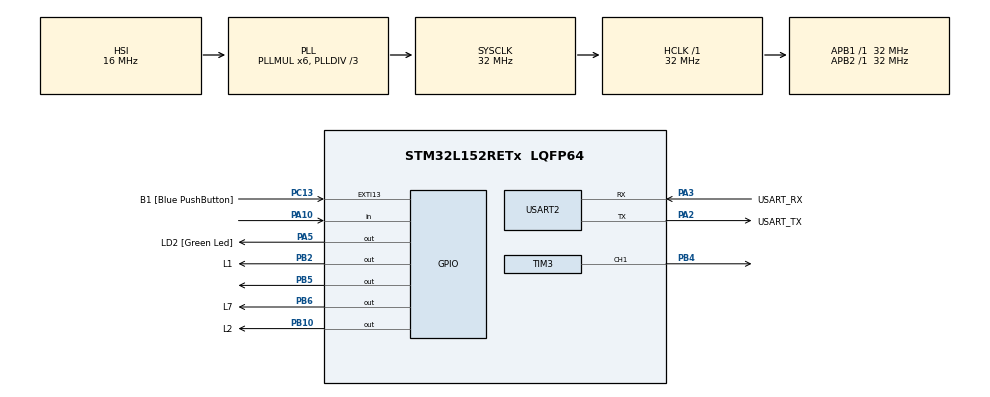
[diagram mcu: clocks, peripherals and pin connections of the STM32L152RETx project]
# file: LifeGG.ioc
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Mcu.Family=STM32L1
Mcu.Name=STM32L152RETx
Mcu.Package=LQFP64
NVIC.PriorityGroup=NVIC_PRIORITYGROUP_0
NVIC.TIM3_IRQn=true\:0\:0\:false\:false\:true\:true\:true\:true
NVIC.USART2_IRQn=true\:0\:0\:false\:false\:true\:true\:true\:true
PA10.Signal=GPIO_Input
PA13.GPIO_Label=TMS
PA13.Mode=Serial_Wire
PA13.Signal=SYS_JTMS-SWDIO
PA14.GPIO_Label=TCK
PA14.Mode=Serial_Wire
PA14.Signal=SYS_JTCK-SWCLK
PA2.GPIO_Label=USART_TX
PA2.Mode=Asynchronous
PA2.Signal=USART2_TX
PA3.GPIO_Label=USART_RX
PA3.Mode=Asynchronous
PA3.Signal=USART2_RX
PA5.GPIO_Label=LD2 [Green Led]
PA5.Signal=GPIO_Output
PB10.GPIO_Label=L2
PB10.Signal=GPIO_Output
PB2.GPIO_Label=L1
PB2.Signal=GPIO_Output
PB3.GPIO_Label=SWO
PB3.Signal=SYS_JTDO-TRACESWO
PB4.Signal=S_TIM3_CH1
PB5.Signal=GPIO_Output
PB6.GPIO_Label=L7
PB6.Signal=GPIO_Output
PC13-WKUP2.GPIO_Label=B1 [Blue PushButton]
PC13-WKUP2.Signal=GPXTI13
PC14-OSC32_IN.Mode=LSE-External-Oscillator
PC14-OSC32_IN.Signal=RCC_OSC32_IN
PC15-OSC32_OUT.Mode=LSE-External-Oscillator
PC15-OSC32_OUT.Signal=RCC_OSC32_OUT
PH0-OSC_IN.Mode=HSE-External-Clock-Source
PH0-OSC_IN.Signal=RCC_OSC_IN
PH1-OSC_OUT.Signal=RCC_OSC_OUT
ProjectManager.HeapSize=0x200
ProjectManager.StackSize=0x400
ProjectManager.TargetToolchain=STM32CubeIDE
RCC.48MHZClocksFreq_Value=48000000
RCC.AHBFreq_Value=32000000
RCC.APB1Freq_Value=32000000
RCC.APB1TimFreq_Value=32000000
RCC.APB2Freq_Value=32000000
RCC.APB2TimFreq_Value=32000000
RCC.HCLKFreq_Value=32000000
RCC.HSE_VALUE=8000000
RCC.HSI_VALUE=16000000
RCC.MSI_VALUE=2097000
RCC.PLLDIV=RCC_PLL_DIV3
RCC.PLLMUL=RCC_PLL_MUL6
RCC.RTCClockSelectionVirtual=RCC_RTCCLKSOURCE_LSE
RCC.SYSCLKFreq_VALUE=32000000
RCC.SYSCLKSource=RCC_SYSCLKSOURCE_PLLCLK
RCC.USBOutput=48000000
RCC.VCOOutputFreq_Value=96000000
SH.S_TIM3_CH1.0=TIM3_CH1,PWM Generation1 CH1
TIM3.Channel-PWM\ Generation1\ CH1=TIM_CHANNEL_1
TIM3.Pulse-PWM\ Generation1\ CH1=32000
USART2.VirtualMode=VM_ASYNC
VP_TIM3_VS_ClockSourceINT.Mode=Internal
board=NUCLEO-L152RE

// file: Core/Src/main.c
/* USER CODE BEGIN Header */
/**
  ******************************************************************************
  * @file           : main.c
  * @brief          : Main program body
  ******************************************************************************
  * @attention
  *
  * Copyright (c) 2025 STMicroelectronics.
  * All rights reserved.
  *
  * This software is licensed under terms that can be found in the LICENSE file
  * in the root directory of this software component.
  * If no LICENSE file comes with this software, it is provided AS-IS.
  *
  ******************************************************************************
  */
/* USER CODE END Header */
#include "main.h"

/* USER CODE BEGIN Includes */
#include "stdio.h"
#include<string.h>

#define DIRECTION_OPEN_PIN    GPIO_PIN_4  // Ex : PB4
#define DIRECTION_CLOSE_PIN   GPIO_PIN_5  // Ex : PB5

#define DIRECTION_PORT        GPIOB

#define LED_L1_PIN    GPIO_PIN_2    // PB2 : LED L1
#define LED_L2_PIN    GPIO_PIN_10   // PB10 : LED L2
#define LED_L_PORT    GPIOB         // Port commun pour L1 et L2

#define OPEN_DURATION_MS      10000  // 10 secondes
#define CLOSE_DURATION_MS     10000  // 10 secondes
/* USER CODE END Includes */

TIM_HandleTypeDef htim3;

UART_HandleTypeDef huart2;

void SystemClock_Config(void);
static void MX_GPIO_Init(void);
static void MX_USART2_UART_Init(void);
static void MX_TIM3_Init(void);

/* USER CODE BEGIN 0 */
void set_motor_direction(uint8_t open)
{
    // PWM vitesse moteur sur CH1
    HAL_TIM_PWM_Start(&htim3, TIM_CHANNEL_1);

    if (open)
    {
        // Ouverture : DIR = 0
        HAL_GPIO_WritePin(GPIOB, GPIO_PIN_5, GPIO_PIN_RESET);

        // LEDs indicatrices
        HAL_GPIO_WritePin(LED_L_PORT, LED_L1_PIN, GPIO_PIN_SET);
        HAL_GPIO_WritePin(LED_L_PORT, LED_L2_PIN, GPIO_PIN_RESET);
    }
    else
    {
        // Fermeture : DIR = 1
        HAL_GPIO_WritePin(GPIOB, GPIO_PIN_5, GPIO_PIN_SET);

        // LEDs indicatrices
        HAL_GPIO_WritePin(LED_L_PORT, LED_L1_PIN, GPIO_PIN_RESET);
        HAL_GPIO_WritePin(LED_L_PORT, LED_L2_PIN, GPIO_PIN_SET);
    }
}

void stop_motor()
{
    HAL_TIM_PWM_Stop(&htim3, TIM_CHANNEL_1);

    HAL_GPIO_WritePin(LED_L_PORT, LED_L1_PIN, GPIO_PIN_RESET);
    HAL_GPIO_WritePin(LED_L_PORT, LED_L2_PIN, GPIO_PIN_RESET);
}
/* USER CODE END 0 */

int main(void)
{

  /* MCU Configuration--------------------------------------------------------*/

  /* Reset of all peripherals, Initializes the Flash interface and the Systick. */
  HAL_Init();

  /* Configure the system clock */
  SystemClock_Config();

  /* Initialize all configured peripherals */
  MX_GPIO_Init();
  MX_USART2_UART_Init();
  MX_TIM3_Init();
  /* USER CODE BEGIN 2 */
  uint8_t portique_state = 0; // 0: fermé, 1: ouvert, 2: en fermeture
  uint32_t pir_last_detect_time = 0;
  uint32_t mouvement_start_time = 0;
  /* USER CODE END 2 */

  /* Infinite loop */
  /* USER CODE BEGIN WHILE */
  while (1)
  {
         GPIO_PinState pir_state = HAL_GPIO_ReadPin(GPIOA, GPIO_PIN_10);

         // Debug UART vers TeraTerm
         char msg[50];
         sprintf(msg, "PIR: %d | Portique: %d\r\n", pir_state, portique_state);
         HAL_UART_Transmit(&huart2, (uint8_t*)msg, strlen(msg), HAL_MAX_DELAY);

         // Gestion logique moteur
         if (pir_state == GPIO_PIN_SET)
                {
                    pir_last_detect_time = HAL_GetTick();

                    if (portique_state != 1) // pas déjà ouvert
                    {
                        set_motor_direction(1); // ouverture
                        mouvement_start_time = HAL_GetTick();
                        portique_state = 1;
                    }
                }

                if (pir_state == GPIO_PIN_RESET && portique_state == 1)
                {
                    if (HAL_GetTick() - pir_last_detect_time >= 10000) // 10s sans détection
                    {
                        set_motor_direction(0); // fermeture
                        mouvement_start_time = HAL_GetTick();
                        portique_state = 2;
                    }
                }

                // Stop moteur ouverture après 10s d'action
                if (portique_state == 1 && (HAL_GetTick() - mouvement_start_time >= 10000))
                {
                    stop_motor();
                }

                // Stop moteur fermeture après 10s d'action
                if (portique_state == 2 && (HAL_GetTick() - mouvement_start_time >= 10000))
                {
                    stop_motor();
                    portique_state = 0; // Devenu fermé
                }

         HAL_Delay(1000); // Evite le flood UART

    /* USER CODE END WHILE */

  }
}

void SystemClock_Config(void)
{
  RCC_OscInitTypeDef RCC_OscInitStruct = {0};
  RCC_ClkInitTypeDef RCC_ClkInitStruct = {0};

  /** Configure the main internal regulator output voltage
  */
  __HAL_PWR_VOLTAGESCALING_CONFIG(PWR_REGULATOR_VOLTAGE_SCALE1);

  /** Initializes the RCC Oscillators according to the specified parameters
  * in the RCC_OscInitTypeDef structure.
  */
  RCC_OscInitStruct.OscillatorType = RCC_OSCILLATORTYPE_HSI;
  RCC_OscInitStruct.HSIState = RCC_HSI_ON;
  RCC_OscInitStruct.HSICalibrationValue = RCC_HSICALIBRATION_DEFAULT;
  RCC_OscInitStruct.PLL.PLLState = RCC_PLL_ON;
  RCC_OscInitStruct.PLL.PLLSource = RCC_PLLSOURCE_HSI;
  RCC_OscInitStruct.PLL.PLLMUL = RCC_PLL_MUL6;
  RCC_OscInitStruct.PLL.PLLDIV = RCC_PLL_DIV3;
  if (HAL_RCC_OscConfig(&RCC_OscInitStruct) != HAL_OK)
  {
    Error_Handler();
  }

  /** Initializes the CPU, AHB and APB buses clocks
  */
  RCC_ClkInitStruct.ClockType = RCC_CLOCKTYPE_HCLK|RCC_CLOCKTYPE_SYSCLK
                              |RCC_CLOCKTYPE_PCLK1|RCC_CLOCKTYPE_PCLK2;
  RCC_ClkInitStruct.SYSCLKSource = RCC_SYSCLKSOURCE_PLLCLK;
  RCC_ClkInitStruct.AHBCLKDivider = RCC_SYSCLK_DIV1;
  RCC_ClkInitStruct.APB1CLKDivider = RCC_HCLK_DIV1;
  RCC_ClkInitStruct.APB2CLKDivider = RCC_HCLK_DIV1;

  if (HAL_RCC_ClockConfig(&RCC_ClkInitStruct, FLASH_LATENCY_1) != HAL_OK)
  {
    Error_Handler();
  }
}

static void MX_TIM3_Init(void)
{

  TIM_ClockConfigTypeDef sClockSourceConfig = {0};
  TIM_MasterConfigTypeDef sMasterConfig = {0};
  TIM_OC_InitTypeDef sConfigOC = {0};

  htim3.Instance = TIM3;
  htim3.Init.Prescaler = 0;
  htim3.Init.CounterMode = TIM_COUNTERMODE_UP;
  htim3.Init.Period = 65535;
  htim3.Init.ClockDivision = TIM_CLOCKDIVISION_DIV1;
  htim3.Init.AutoReloadPreload = TIM_AUTORELOAD_PRELOAD_DISABLE;
  if (HAL_TIM_Base_Init(&htim3) != HAL_OK)
  {
    Error_Handler();
  }
  sClockSourceConfig.ClockSource = TIM_CLOCKSOURCE_INTERNAL;
  if (HAL_TIM_ConfigClockSource(&htim3, &sClockSourceConfig) != HAL_OK)
  {
    Error_Handler();
  }
  if (HAL_TIM_PWM_Init(&htim3) != HAL_OK)
  {
    Error_Handler();
  }
  sMasterConfig.MasterOutputTrigger = TIM_TRGO_RESET;
  sMasterConfig.MasterSlaveMode = TIM_MASTERSLAVEMODE_DISABLE;
  if (HAL_TIMEx_MasterConfigSynchronization(&htim3, &sMasterConfig) != HAL_OK)
  {
    Error_Handler();
  }
  sConfigOC.OCMode = TIM_OCMODE_PWM1;
  sConfigOC.Pulse = 32000;
  sConfigOC.OCPolarity = TIM_OCPOLARITY_HIGH;
  sConfigOC.OCFastMode = TIM_OCFAST_DISABLE;
  if (HAL_TIM_PWM_ConfigChannel(&htim3, &sConfigOC, TIM_CHANNEL_1) != HAL_OK)
  {
    Error_Handler();
  }
  HAL_TIM_MspPostInit(&htim3);

}

static void MX_USART2_UART_Init(void)
{

  huart2.Instance = USART2;
  huart2.Init.BaudRate = 115200;
  huart2.Init.WordLength = UART_WORDLENGTH_8B;
  huart2.Init.StopBits = UART_STOPBITS_1;
  huart2.Init.Parity = UART_PARITY_NONE;
  huart2.Init.Mode = UART_MODE_TX_RX;
  huart2.Init.HwFlowCtl = UART_HWCONTROL_NONE;
  huart2.Init.OverSampling = UART_OVERSAMPLING_16;
  if (HAL_UART_Init(&huart2) != HAL_OK)
  {
    Error_Handler();
  }

}

static void MX_GPIO_Init(void)
{
  GPIO_InitTypeDef GPIO_InitStruct = {0};

  /* GPIO Ports Clock Enable */
  __HAL_RCC_GPIOC_CLK_ENABLE();
  __HAL_RCC_GPIOH_CLK_ENABLE();
  __HAL_RCC_GPIOA_CLK_ENABLE();
  __HAL_RCC_GPIOB_CLK_ENABLE();

  /*Configure GPIO pin Output Level */
  HAL_GPIO_WritePin(LD2_GPIO_Port, LD2_Pin, GPIO_PIN_RESET);

  /*Configure GPIO pin Output Level */
  HAL_GPIO_WritePin(GPIOB, L1_Pin|L2_Pin|GPIO_PIN_5|L7_Pin, GPIO_PIN_RESET);

  /*Configure GPIO pin : B1_Pin */
  GPIO_InitStruct.Pin = B1_Pin;
  GPIO_InitStruct.Mode = GPIO_MODE_IT_RISING;
  GPIO_InitStruct.Pull = GPIO_NOPULL;
  HAL_GPIO_Init(B1_GPIO_Port, &GPIO_InitStruct);

  /*Configure GPIO pin : LD2_Pin */
  GPIO_InitStruct.Pin = LD2_Pin;
  GPIO_InitStruct.Mode = GPIO_MODE_OUTPUT_PP;
  GPIO_InitStruct.Pull = GPIO_NOPULL;
  GPIO_InitStruct.Speed = GPIO_SPEED_FREQ_LOW;
  HAL_GPIO_Init(LD2_GPIO_Port, &GPIO_InitStruct);

  /*Configure GPIO pins : L1_Pin L2_Pin PB5 L7_Pin */
  GPIO_InitStruct.Pin = L1_Pin|L2_Pin|GPIO_PIN_5|L7_Pin;
  GPIO_InitStruct.Mode = GPIO_MODE_OUTPUT_PP;
  GPIO_InitStruct.Pull = GPIO_NOPULL;
  GPIO_InitStruct.Speed = GPIO_SPEED_FREQ_LOW;
  HAL_GPIO_Init(GPIOB, &GPIO_InitStruct);

  /*Configure GPIO pin : PA10 */
  GPIO_InitStruct.Pin = GPIO_PIN_10;
  GPIO_InitStruct.Mode = GPIO_MODE_INPUT;
  GPIO_InitStruct.Pull = GPIO_NOPULL;
  HAL_GPIO_Init(GPIOA, &GPIO_InitStruct);

/* USER CODE BEGIN MX_GPIO_Init_2 */

  GPIO_InitStruct.Pin = GPIO_PIN_4 | GPIO_PIN_5;
  GPIO_InitStruct.Mode = GPIO_MODE_OUTPUT_PP;
  GPIO_InitStruct.Pull = GPIO_NOPULL;
  GPIO_InitStruct.Speed = GPIO_SPEED_FREQ_LOW;
  HAL_GPIO_Init(GPIOB, &GPIO_InitStruct);

  // Moteur control PB4/PB5
  GPIO_InitStruct.Pin = DIRECTION_OPEN_PIN | DIRECTION_CLOSE_PIN;
  GPIO_InitStruct.Mode = GPIO_MODE_OUTPUT_PP;
  GPIO_InitStruct.Pull = GPIO_NOPULL;
  GPIO_InitStruct.Speed = GPIO_SPEED_FREQ_LOW;
  HAL_GPIO_Init(DIRECTION_PORT, &GPIO_InitStruct);
/* USER CODE END MX_GPIO_Init_2 */
}

void Error_Handler(void)
{
  __disable_irq();
  while (1)
  {
  }
}
